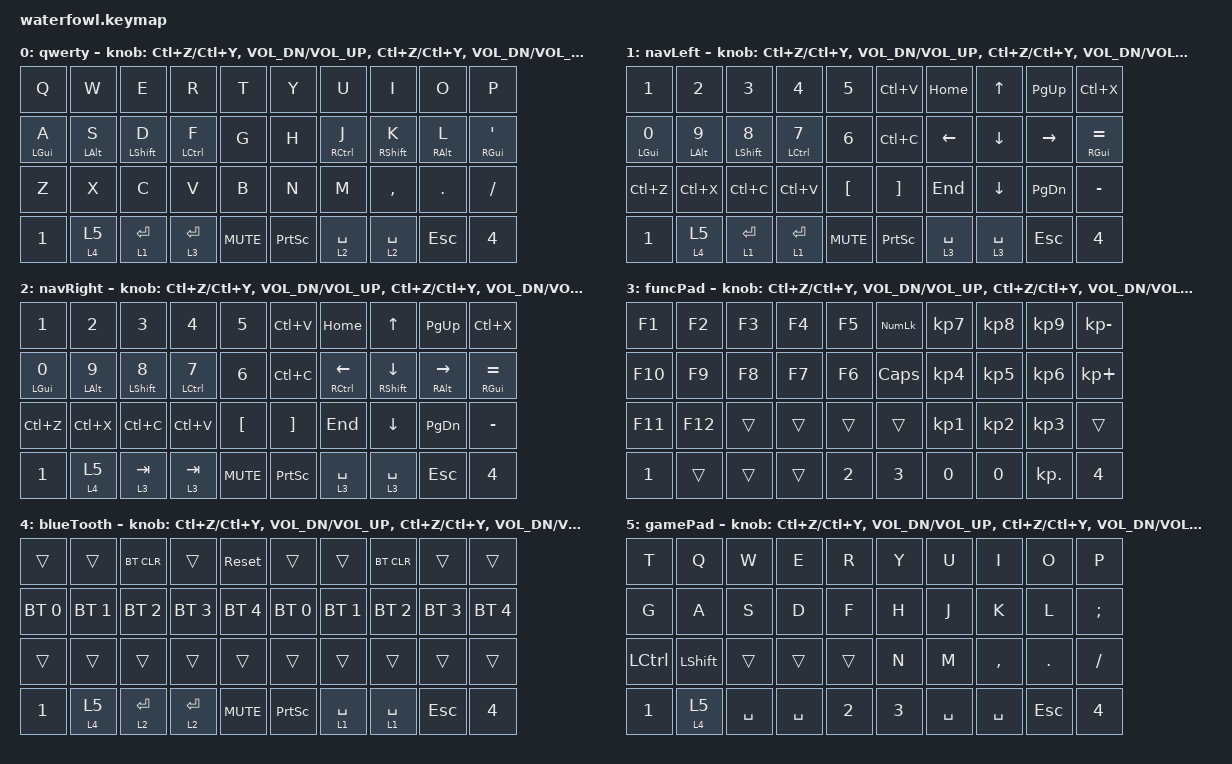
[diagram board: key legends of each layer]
/*
 * Copyright (c) 2022 The ZMK Contributors
 *
 * SPDX-License-Identifier: MIT
 */

#include <behaviors.dtsi>
#include <dt-bindings/zmk/keys.h>
#include <dt-bindings/zmk/bt.h>

/ {
	behaviors {
        mo_tog: behavior_mo_tog {
            compatible = "zmk,behavior-hold-tap";
            label = "mo_tog";
            #binding-cells = <2>;
            flavor = "hold-preferred";
            tapping-term-ms = <200>;
            bindings = <&mo>, <&tog>;
        };
        ht: hold_tap {
            compatible = "zmk,behavior-hold-tap";
            label = "CUSTOM_HOLD_TAP";
            #binding-cells = <2>;
            flavor = "balanced";
            tapping-term-ms = <300>;
            quick-tap-ms = <200>;
            bindings = <&kp>, <&kp>;
        };
        lmt: left_hand_positional_hold_tap {
            compatible = "zmk,behavior-hold-tap";
            label = "LEFT_POSITIONAL_HOLD_TAP";
            #binding-cells = <2>;
            flavor = "balanced";
            tapping-term-ms = <200>;
            quick-tap-ms = <125>;
            bindings = <&kp>, <&kp>;
            hold-trigger-key-positions = <5 6 7 8 9 15 16 17 18 19 25 26 27 28 29 30 31 32 33 34 35 36 37 38 39>;    // <---[[right-hand keys]]
        };
        rmt: right_hand_positional_hold_tap {
            compatible = "zmk,behavior-hold-tap";
            label = "RIGHT_POSITIONAL_HOLD_TAP";
            #binding-cells = <2>;
            flavor = "balanced";
            tapping-term-ms = <200>;
            quick-tap-ms = <125>;
            bindings = <&kp>, <&kp>;
            hold-trigger-key-positions = <0 1 2 3 4 10 11 12 13 14 20 21 22 23 24 30 31 32 33 34 35 36 37 38 39>;    // <---[[left-hand keys]]
        };
    };


    keymap {
        compatible = "zmk,keymap";
        default_layer {
/* QWERTY
 *
 * ,----------------------------------.                      ,----------------------------------.
 * |   Q  |   W  |   E  |   R  |   T  |                      |   Y  |   U  |   I  |   O  |   P  |
 * |------+------+------+------+------|                      |------+------+------+------+------|
 * |   A  |   S  |   D  |   F  |   G  |                      |   H  |   J  |   K  |   L  |   '  |
 * |------+------+------+------+------|  ,-----.   ,------.  |------+------+------+------+------|
 * |   Z  |   X  |   C  |   V  |   B  |  | mute|   |prnscn|  |   N  |   M  |   ,  |   .  |   /  |
 * `----------------------------------'  `-----'   `------'  `----------------------------------'
 *        ,-----.   ,-----------------------.           ,---------------------.   ,-----.
 *        |  1  |   |GAME/BT| ENTER | ENTER |           | SPACE | SPACE | ESC |   |  4  |
 *        `-----'   `-----------------------'           `---------------------'   `-----'
 */
            display-name = "qwerty";
            bindings = <
    &kp Q        &kp W        &kp E        &kp R        &kp T           &kp Y      &kp U        &kp I        &kp O        &kp P
    &lmt LGUI A  &lmt LALT S  &lmt LSHFT D &lmt LCTRL F &kp G           &kp H      &rmt RCTRL J &rmt RSHFT K &rmt RALT L  &rmt RGUI APOS
    &kp Z        &kp X        &kp C        &kp V        &kp B           &kp N      &kp M        &kp COMMA    &kp DOT      &kp FSLH
    &kp N1       &mo_tog 4 5  &lt 1 RET    &lt 3 RET    &kp C_MUTE      &kp PSCRN  &lt 2 SPACE  &lt 2 SPACE  &kp ESC      &kp N4
            >;

            sensor-bindings = <&inc_dec_kp LC(Z) LC(Y) &inc_dec_kp C_VOL_DN C_VOL_UP &inc_dec_kp LC(Z) LC(Y) &inc_dec_kp C_VOL_DN C_VOL_UP>;
        };

        navnum_left_layer {
/* NAVNUMLEFT
 *
 * ,----------------------------------.                      ,----------------------------------.
 * |   1  |   2  |   3  |   4  |   5  |                      | PASTE| Home |  Up  | PgUp | CUT  |
 * |------+------+------+------+------|                      |------+------+------+------+------|
 * |   0  |   9  |   8  |   7  |   6  |                      | COPY | Left | Down | Right|   =  |
 * |------+------+------+------+------|  ,-----.    ,-----.  |------+------+------+------+------|
 * | UNDO |  CUT | COPY | PASTE|   [  |  |  2  |    |  3  |  |  ]   | End  | Down | PgDn |   -  |
 * `----------------------------------'  `-----'    `-----'  `----------------------------------'
 *        ,-----.   ,-----------------------.           ,---------------------.   ,-----.
 *        |  1  |   |GAME/BT| ENTER | ENTER |           | SPACE | SPACE | ESC |   |  4  |
 *        `-----'   `-----------------------'           `---------------------'   `-----'
 */
            display-name = "navLeft";
            bindings = <
    &kp N1        &kp N2        &kp N3         &kp N4         &kp N5                &kp LC(V)   &kp HOME    &kp UP      &kp PG_UP &kp LC(X)
    &ht LGUI N0   &ht LALT N9   &ht LSHFT N8   &ht LCTRL N7   &kp N6                &kp LC(C)   &kp LEFT    &kp DOWN    &kp RIGHT &ht RGUI EQUAL
    &kp LC(Z)     &kp LC(X)     &kp LC(C)      &kp LC(V)      &kp LBKT              &kp RBKT    &kp END     &kp DOWN    &kp PG_DN &kp MINUS
    &kp N1        &mo_tog 4 5   &lt 1 RET      &lt 1 RET      &kp C_MUTE            &kp PSCRN   &lt 3 SPACE &lt 3 SPACE &kp ESC   &kp N4
            >;

            sensor-bindings = <&inc_dec_kp LC(Z) LC(Y) &inc_dec_kp C_VOL_DN C_VOL_UP &inc_dec_kp LC(Z) LC(Y) &inc_dec_kp C_VOL_DN C_VOL_UP>;
        };

        navnum_right_layer {
/* NAVNUMRIGHT
 *
 * ,----------------------------------.                      ,----------------------------------.
 * |   1  |   2  |   3  |   4  |   5  |                      | PASTE| Home |  Up  | PgUp | CUT  |
 * |------+------+------+------+------|                      |------+------+------+------+------|
 * |   0  |   9  |   8  |   7  |   6  |                      | COPY | Left | Down | Right|   =  |
 * |------+------+------+------+------|  ,-----.    ,-----.  |------+------+------+------+------|
 * | UNDO |  CUT | COPY | PASTE|   [  |  |  2  |    |  3  |  |  ]   | End  | Down | PgDn |   -  |
 * `----------------------------------'  `-----'    `-----'  `----------------------------------'
 *        ,-----.   ,-----------------------.           ,---------------------.   ,-----.
 *        |  1  |   |GAME/BT|  TAB  |  TAB  |           | SPACE | SPACE | ESC |   |  4  |
 *        `-----'   `-----------------------'           `---------------------'   `-----'
 */
            display-name = "navRight";
            bindings = <
    &kp N1       &kp N2       &kp N3        &kp N4        &kp N5                &kp LC(V)  &kp HOME        &kp UP          &kp PG_UP       &kp LC(X)
    &ht LGUI N0  &ht LALT N9  &ht LSHFT N8  &ht LCTRL N7  &kp N6                &kp LC(C)  &ht RCTRL LEFT  &ht RSHFT DOWN  &ht RALT RIGHT  &ht RGUI EQUAL
    &kp LC(Z)    &kp LC(X)    &kp LC(C)     &kp LC(V)     &kp LBKT              &kp RBKT   &kp END         &kp DOWN        &kp PG_DN       &kp MINUS
    &kp N1       &mo_tog 4 5  &lt 3 TAB     &lt 3 TAB     &kp C_MUTE            &kp PSCRN  &lt 3 SPACE     &lt 3 SPACE     &kp ESC         &kp N4
            >;

            sensor-bindings = <&inc_dec_kp LC(Z) LC(Y) &inc_dec_kp C_VOL_DN C_VOL_UP &inc_dec_kp LC(Z) LC(Y) &inc_dec_kp C_VOL_DN C_VOL_UP>;
        };

        funcpad_layer {
/* FUNCPAD
 *
 * ,----------------------------------.                      ,----------------------------------.
 * |  F1  |  F2  |  F3  |  F4  |  F5  |                      |NumLck|   7  |   8  |   9  |  -   |
 * |------+------+------+------+------|                      |------+------+------+------+------|
 * |  F10 |  F9  |  F8  |  F7  |  F6  |                      |CapLck|   4  |   5  |   6  |  +   |
 * |------+------+------+------+------|  ,-----.    ,-----.  |------+------+------+------+------|
 * |  F11 |  F12 |      |      |      |  |  2  |    |  3  |  |      |   1  |   2  |   3  |      |
 * `----------------------------------'  `-----'    `-----'  `----------------------------------'
 *        ,-----.   ,-----------------------.           ,---------------------.   ,-----.
 *        |  1  |   |       |       |       |           |   0   |   0   |  .  |   |  4  |
 *        `-----'   `-----------------------'           `---------------------'   `-----'
 */
            display-name = "funcPad";
            bindings = <
    &kp F1    &kp F2  &kp F3  &kp F4  &kp F5                 &kp KP_NUM &kp KP_N7  &kp KP_N8  &kp KP_N9  &kp KP_MINUS
    &kp F10   &kp F9  &kp F8  &kp F7  &kp F6                 &kp CAPS   &kp KP_N4  &kp KP_N5  &kp KP_N6  &kp KP_PLUS
    &kp F11   &kp F12 &trans  &trans  &trans                 &trans     &kp KP_N1  &kp KP_N2  &kp KP_N3  &trans
    &kp N1    &trans  &trans  &trans  &kp N2                 &kp N3     &kp N0     &kp N0     &kp KP_DOT &kp N4
            >;

            sensor-bindings = <&inc_dec_kp LC(Z) LC(Y) &inc_dec_kp C_VOL_DN C_VOL_UP &inc_dec_kp LC(Z) LC(Y) &inc_dec_kp C_VOL_DN C_VOL_UP>;
        };

		bluetooth_layer {
/* BLUETOOTH
 *
 * ,----------------------------------.                      ,----------------------------------.
 * |      |      | BTCLR|      | Reset|                      |      |      | BTCLR|      |      |
 * |------+------+------+------+------|                      |------+------+------+------+------|
 * |  BT0 |  BT1 |  BT2 |  BT3 |  BT4 |                      |  BT0 |  BT1 |  BT2 |  BT3 |  BT4 |
 * |------+------+------+------+------|  ,-----.    ,-----.  |------+------+------+------+------|
 * |      |      |      |      |      |  |  2  |    |  3  |  |      |      |      |      |      |
 * `----------------------------------'  `-----'    `-----'  `----------------------------------'
 *        ,-----.   ,-----------------------.           ,---------------------.   ,-----.
 *        |  1  |   |GAME/BT| ENTER | ENTER |           | SPACE | SPACE | ESC |   |  4  |
 *        `-----'   `-----------------------'           `---------------------'   `-----'
 */
            display-name = "blueTooth";
            bindings = <
    &trans        &trans        &bt BT_CLR    &trans        &sys_reset          &trans          &trans          &bt BT_CLR      &trans        &trans
    &bt BT_SEL 0  &bt BT_SEL 1  &bt BT_SEL 2  &bt BT_SEL 3  &bt BT_SEL 4        &bt BT_SEL 0    &bt BT_SEL 1    &bt BT_SEL 2    &bt BT_SEL 3  &bt BT_SEL 4
    &trans        &trans        &trans        &trans        &trans              &trans          &trans          &trans          &trans        &trans
    &kp N1        &mo_tog 4 5   &lt 2 RET     &lt 2 RET     &kp C_MUTE          &kp PSCRN       &lt 1 SPACE     &lt 1 SPACE     &kp ESC       &kp N4
            >;

            sensor-bindings = <&inc_dec_kp LC(Z) LC(Y) &inc_dec_kp C_VOL_DN C_VOL_UP &inc_dec_kp LC(Z) LC(Y) &inc_dec_kp C_VOL_DN C_VOL_UP>;
        };

        game_layer {
/* GAMELAYER (mostly for Minecraft and perhaps other lefthand WASD move games)
 *
 * ,----------------------------------.                      ,----------------------------------.
 * |   T  |   Q  |   W  |   E  |   R  |                      |   Y  |   U  |   I  |   O  |   P  |
 * |------+------+------+------+------|                      |------+------+------+------+------|
 * |   G  |   A  |   S  |   D  |   F  |                      |   H  |   J  |   K  |   L  |   ;  |
 * |------+------+------+------+------|  ,-----.    ,-----.  |------+------+------+------+------|
 * | CTRL | SHFT |      |      |      |  |  2  |    |  3  |  |   N  |   M  |   ,  |   .  |   /  |
 * `----------------------------------'  `-----'    `-----'  `----------------------------------'
 *        ,-----.   ,-----------------------.           ,---------------------.   ,-----.
 *        |  1  |   |GAME/BT| SPACE | SPACE |           | SPACE | SPACE | ESC |   |  4  |
 *        `-----'   `-----------------------'           `---------------------'   `-----'
 */
            display-name = "gamePad";
            bindings = <
    &kp T      &kp Q       &kp W      &kp E      &kp R          &kp Y   &kp U      &kp I      &kp O    &kp P
    &kp G      &kp A       &kp S      &kp D      &kp F          &kp H   &kp J      &kp K      &kp L    &kp SEMI
    &kp LCTRL  &kp LSHFT   &trans     &trans     &trans         &kp N   &kp M      &kp COMMA  &kp DOT  &kp FSLH
    &kp N1     &mo_tog 4 5 &kp SPACE  &kp SPACE  &kp N2         &kp N3  &kp SPACE  &kp SPACE  &kp ESC  &kp N4
            >;

            sensor-bindings = <&inc_dec_kp LC(Z) LC(Y) &inc_dec_kp C_VOL_DN C_VOL_UP &inc_dec_kp LC(Z) LC(Y) &inc_dec_kp C_VOL_DN C_VOL_UP>;
        };
    };

    combos {
        compatible = "zmk,combos";
        combo_esc {
            timeout-ms = <50>;
            key-positions = <0 1>;
            bindings = <&kp ESC>;
        };
        combo_tild {
            timeout-ms = <50>;
            key-positions = <1 2>;
            bindings = <&kp GRAVE>;
        };
        combo_guitap {
            timeout-ms = <50>;
            key-positions = <21 22>;
            bindings = <&kp LGUI>;
        };
        combo_backspace {
            timeout-ms = <50>;
            key-positions = <6 7>;
            bindings = <&kp BACKSPACE>;
        };
        combo_delete {
            timeout-ms = <50>;
            key-positions = <16 17>;
            bindings = <&kp DELETE>;
        };
        combo_backslash {
            timeout-ms = <50>;
            key-positions = <26 27>;
            bindings = <&kp BACKSLASH>;
        };
        combo_semicolon {
            timeout-ms = <50>;
            key-positions = <18 19>;
            bindings = <&kp SEMICOLON>;
        };
        combo_app {
            timeout-ms = <50>;
            key-positions = <27 28>;
            bindings = <&kp K_APP>;
        };
    };
};
